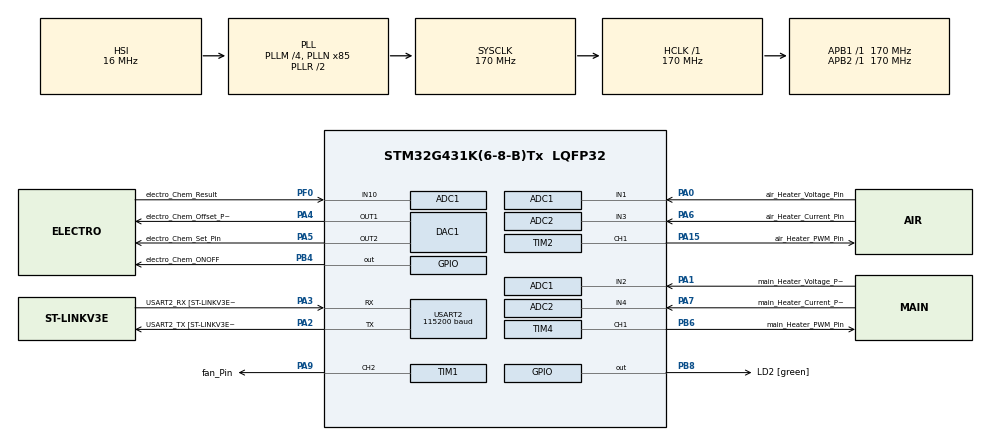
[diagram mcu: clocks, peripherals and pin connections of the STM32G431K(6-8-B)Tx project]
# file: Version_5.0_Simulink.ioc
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ADC1.Channel-10\#ChannelRegularConversion=ADC_CHANNEL_VREFINT
ADC1.Channel-6\#ChannelRegularConversion=ADC_CHANNEL_1
ADC1.Channel-7\#ChannelRegularConversion=ADC_CHANNEL_2
ADC1.Channel-8\#ChannelRegularConversion=ADC_CHANNEL_10
ADC1.Channel-9\#ChannelRegularConversion=ADC_CHANNEL_TEMPSENSOR_ADC1
ADC1.ClockPrescaler=ADC_CLOCK_ASYNC_DIV4
ADC1.ContinuousConvMode=ENABLE
ADC1.DMAContinuousRequests=ENABLE
ADC1.NbrOfConversion=5
ADC1.NbrOfConversionFlag=1
ADC1.OffsetNumber-10\#ChannelRegularConversion=ADC_OFFSET_NONE
ADC1.OffsetNumber-6\#ChannelRegularConversion=ADC_OFFSET_NONE
ADC1.OffsetNumber-7\#ChannelRegularConversion=ADC_OFFSET_NONE
ADC1.OffsetNumber-8\#ChannelRegularConversion=ADC_OFFSET_NONE
ADC1.OffsetNumber-9\#ChannelRegularConversion=ADC_OFFSET_NONE
ADC1.Rank-10\#ChannelRegularConversion=5
ADC1.Rank-6\#ChannelRegularConversion=1
ADC1.Rank-7\#ChannelRegularConversion=2
ADC1.Rank-8\#ChannelRegularConversion=3
ADC1.Rank-9\#ChannelRegularConversion=4
ADC1.SamplingTime-10\#ChannelRegularConversion=ADC_SAMPLETIME_47CYCLES_5
ADC1.SamplingTime-6\#ChannelRegularConversion=ADC_SAMPLETIME_47CYCLES_5
ADC1.SamplingTime-7\#ChannelRegularConversion=ADC_SAMPLETIME_47CYCLES_5
ADC1.SamplingTime-8\#ChannelRegularConversion=ADC_SAMPLETIME_47CYCLES_5
ADC1.SamplingTime-9\#ChannelRegularConversion=ADC_SAMPLETIME_47CYCLES_5
ADC1.master=1
ADC2.Channel-1\#ChannelRegularConversion=ADC_CHANNEL_3
ADC2.Channel-2\#ChannelRegularConversion=ADC_CHANNEL_4
ADC2.ClockPrescaler=ADC_CLOCK_ASYNC_DIV4
ADC2.ContinuousConvMode=ENABLE
ADC2.DMAContinuousRequests=ENABLE
ADC2.NbrOfConversion=2
ADC2.NbrOfConversionFlag=1
ADC2.OffsetNumber-1\#ChannelRegularConversion=ADC_OFFSET_NONE
ADC2.OffsetNumber-2\#ChannelRegularConversion=ADC_OFFSET_NONE
ADC2.Rank-1\#ChannelRegularConversion=1
ADC2.Rank-2\#ChannelRegularConversion=2
ADC2.SamplingTime-1\#ChannelRegularConversion=ADC_SAMPLETIME_247CYCLES_5
ADC2.SamplingTime-2\#ChannelRegularConversion=ADC_SAMPLETIME_247CYCLES_5
DAC1.DAC_Channel-DAC_OUT2=DAC_CHANNEL_2
Dma.ADC1.1.Direction=DMA_PERIPH_TO_MEMORY
Dma.ADC1.1.EventEnable=DISABLE
Dma.ADC1.1.Instance=DMA1_Channel1
Dma.ADC1.1.MemDataAlignment=DMA_MDATAALIGN_HALFWORD
Dma.ADC1.1.MemInc=DMA_MINC_ENABLE
Dma.ADC1.1.Mode=DMA_CIRCULAR
Dma.ADC1.1.PeriphDataAlignment=DMA_PDATAALIGN_HALFWORD
Dma.ADC1.1.PeriphInc=DMA_PINC_DISABLE
Dma.ADC1.1.Polarity=HAL_DMAMUX_REQ_GEN_RISING
Dma.ADC1.1.Priority=DMA_PRIORITY_LOW
Dma.ADC1.1.RequestNumber=1
Dma.ADC1.1.SignalID=NONE
Dma.ADC1.1.SyncEnable=DISABLE
Dma.ADC1.1.SyncPolarity=HAL_DMAMUX_SYNC_NO_EVENT
Dma.ADC1.1.SyncRequestNumber=1
Dma.ADC1.1.SyncSignalID=NONE
Dma.ADC2.0.Direction=DMA_PERIPH_TO_MEMORY
Dma.ADC2.0.EventEnable=DISABLE
Dma.ADC2.0.Instance=DMA1_Channel2
Dma.ADC2.0.MemDataAlignment=DMA_MDATAALIGN_HALFWORD
Dma.ADC2.0.MemInc=DMA_MINC_ENABLE
Dma.ADC2.0.Mode=DMA_CIRCULAR
Dma.ADC2.0.PeriphDataAlignment=DMA_PDATAALIGN_HALFWORD
Dma.ADC2.0.PeriphInc=DMA_PINC_DISABLE
Dma.ADC2.0.Polarity=HAL_DMAMUX_REQ_GEN_RISING
Dma.ADC2.0.Priority=DMA_PRIORITY_LOW
Dma.ADC2.0.RequestNumber=1
Dma.ADC2.0.SignalID=NONE
Dma.ADC2.0.SyncEnable=DISABLE
Dma.ADC2.0.SyncPolarity=HAL_DMAMUX_SYNC_NO_EVENT
Dma.ADC2.0.SyncRequestNumber=1
Dma.ADC2.0.SyncSignalID=NONE
Dma.Request0=ADC2
Dma.Request1=ADC1
Mcu.Family=STM32G4
Mcu.Name=STM32G431K(6-8-B)Tx
Mcu.Package=LQFP32
NVIC.DMA1_Channel1_IRQn=true\:3\:0\:true\:false\:true\:false\:true\:true
NVIC.DMA1_Channel2_IRQn=true\:3\:0\:true\:false\:true\:false\:true\:true
NVIC.PriorityGroup=NVIC_PRIORITYGROUP_4
NVIC.TIM6_DAC_IRQn=true\:1\:0\:true\:false\:true\:true\:true\:true
NVIC.TIM7_IRQn=true\:1\:0\:true\:false\:true\:true\:true\:true
NVIC.USART2_IRQn=true\:2\:0\:true\:false\:true\:true\:true\:true
PA0.GPIO_Label=air_Heater_Voltage_Pin
PA0.Mode=IN1-Single-Ended
PA0.Signal=ADC1_IN1
PA1.GPIO_Label=main_Heater_Voltage_Pin
PA1.Mode=IN2-Single-Ended
PA1.Signal=ADC1_IN2
PA13.GPIO_Label=T_SWDIO
PA13.Mode=Serial_Wire
PA13.Signal=SYS_JTMS-SWDIO
PA14.GPIO_Label=T_SWCLK
PA14.Mode=Serial_Wire
PA14.Signal=SYS_JTCK-SWCLK
PA15.GPIO_Label=air_Heater_PWM_Pin
PA15.Signal=S_TIM2_CH1
PA2.GPIO_Label=USART2_TX [ST-LINKV3E_VCP_RX]
PA2.Mode=Asynchronous
PA2.Signal=USART2_TX
PA3.GPIO_Label=USART2_RX [ST-LINKV3E_VCP_TX]
PA3.Mode=Asynchronous
PA3.Signal=USART2_RX
PA4.GPIO_Label=electro_Chem_Offset_Pin
PA4.Signal=COMP_DAC11_group
PA5.GPIO_Label=electro_Chem_Set_Pin
PA5.Signal=COMP_DAC12_group
PA6.GPIO_Label=air_Heater_Current_Pin
PA6.Mode=IN3-Single-Ended
PA6.Signal=ADC2_IN3
PA7.GPIO_Label=main_Heater_Current_Pin
PA7.Mode=IN4-Single-Ended
PA7.Signal=ADC2_IN4
PA9.GPIO_Label=fan_Pin
PA9.Signal=S_TIM1_CH2
PB4.GPIO_Label=electro_Chem_ONOFF
PB4.Signal=GPIO_Output
PB6.GPIO_Label=main_Heater_PWM_Pin
PB6.Signal=S_TIM4_CH1
PB8-BOOT0.GPIO_Label=LD2 [green]
PB8-BOOT0.Signal=GPIO_Output
PF0-OSC_IN.GPIO_Label=electro_Chem_Result
PF0-OSC_IN.Mode=IN10-Single-Ended
PF0-OSC_IN.Signal=ADC1_IN10
ProjectManager.HeapSize=0x200
ProjectManager.StackSize=0x400
ProjectManager.TargetToolchain=STM32CubeIDE
RCC.ADC12Freq_Value=170000000
RCC.AHBFreq_Value=170000000
RCC.APB1Freq_Value=170000000
RCC.APB1TimFreq_Value=170000000
RCC.APB2Freq_Value=170000000
RCC.APB2TimFreq_Value=170000000
RCC.CortexFreq_Value=170000000
RCC.EXTERNAL_CLOCK_VALUE=12288000
RCC.HCLKFreq_Value=170000000
RCC.HSE_VALUE=8000000
RCC.HSI48_VALUE=48000000
RCC.HSI_VALUE=16000000
RCC.LSE_VALUE=32768
RCC.PLLM=RCC_PLLM_DIV4
RCC.PLLN=85
RCC.SYSCLKFreq_VALUE=170000000
RCC.SYSCLKSource=RCC_SYSCLKSOURCE_PLLCLK
RCC.USBFreq_Value=170000000
RCC.VCOOutputFreq_Value=340000000
SH.COMP_DAC11_group.0=DAC1_OUT1,DAC_OUT1
SH.COMP_DAC12_group.0=DAC1_OUT2,DAC_OUT2
SH.S_TIM1_CH2.0=TIM1_CH2,PWM Generation2 CH2
SH.S_TIM2_CH1.0=TIM2_CH1,PWM Generation1 CH1
SH.S_TIM4_CH1.0=TIM4_CH1,PWM Generation1 CH1
TIM1.Channel-PWM\ Generation2\ CH2=TIM_CHANNEL_2
TIM2.Channel-PWM\ Generation1\ CH1=TIM_CHANNEL_1
TIM2.PeriodNoDither=65535
TIM2.Prescaler=0
TIM4.Channel-PWM\ Generation1\ CH1=TIM_CHANNEL_1
USART2.BaudRate=115200
USART2.VirtualMode-Asynchronous=VM_ASYNC
USART2.WordLength=WORDLENGTH_8B
VP_ADC1_TempSens_Input.Mode=IN-TempSens
VP_ADC1_Vref_Input.Mode=IN-Vrefint
VP_SYS_VS_DBSignals.Mode=DisableDeadBatterySignals
VP_TIM6_VS_ClockSourceINT.Mode=Enable_Timer
VP_TIM7_VS_ClockSourceINT.Mode=Enable_Timer
board=NUCLEO-G431KB

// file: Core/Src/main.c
/* USER CODE BEGIN Header */
/**
  ******************************************************************************
  * @file           : main.c
  * @brief          : Main program body
  ******************************************************************************
  * @attention
  *
  * Copyright (c) 2024 STMicroelectronics.
  * All rights reserved.
  *
  * This software is licensed under terms that can be found in the LICENSE file
  * in the root directory of this software component.
  * If no LICENSE file comes with this software, it is provided AS-IS.
  *
  ******************************************************************************
  */
/* USER CODE END Header */
#include "main.h"

/* USER CODE BEGIN Includes */

#include <stdio.h>
#include <string.h>

#include "pwm.h"
#include "filter.h"
#include "analog_in.h"
#include "processes.h"
#include "controller.h"
#include "analog_out.h"
#include "moving_average.h"
#include "timer_interrupt.h"
#include "global_variables.h"

/* USER CODE END Includes */

ADC_HandleTypeDef hadc1;
ADC_HandleTypeDef hadc2;
DMA_HandleTypeDef hdma_adc1;
DMA_HandleTypeDef hdma_adc2;

DAC_HandleTypeDef hdac1;

TIM_HandleTypeDef htim1;
TIM_HandleTypeDef htim2;
TIM_HandleTypeDef htim4;
TIM_HandleTypeDef htim6;
TIM_HandleTypeDef htim7;

UART_HandleTypeDef huart2;

void SystemClock_Config(void);
static void MX_GPIO_Init(void);
static void MX_DMA_Init(void);
static void MX_USART2_UART_Init(void);
static void MX_ADC1_Init(void);
static void MX_ADC2_Init(void);
static void MX_DAC1_Init(void);
static void MX_TIM1_Init(void);
static void MX_TIM2_Init(void);
static void MX_TIM4_Init(void);
static void MX_TIM6_Init(void);
static void MX_TIM7_Init(void);

/* USER CODE BEGIN 0 */

uint8_t receiveData[26];			//Includes Simulink headers
uint8_t filteredData[sizeof(receiveData)];

typedef union data{
    float var;
    char data[4];
} data;

uint8_t UART2_txBuffer[28] = {0};

uint8_t UART2_rxBuffer[32] = {0};

float a1, a2 = 0;
float b1, b2 = 0;

float a, b, c, d, e, f, g = 0;

/* USER CODE END 0 */

int main(void)
{

  /* MCU Configuration--------------------------------------------------------*/

  /* Reset of all peripherals, Initializes the Flash interface and the Systick. */
  HAL_Init();

  /* Configure the system clock */
  SystemClock_Config();

  /* Initialize all configured peripherals */
  MX_GPIO_Init();
  MX_DMA_Init();
  MX_USART2_UART_Init();
  MX_ADC1_Init();
  MX_ADC2_Init();
  MX_DAC1_Init();
  MX_TIM1_Init();
  MX_TIM2_Init();
  MX_TIM4_Init();
  MX_TIM6_Init();
  MX_TIM7_Init();
  /* USER CODE BEGIN 2 */

    ADC_Create_Start (&hadc1, 1, 5);
    ADC_Create_Start (&hadc2, 2, 2);

    ADC_Channel_Init (&Air_Heater_Voltage,	1, 1);
    ADC_Channel_Init (&Main_Heater_Voltage,	1, 2);

    ADC_Channel_Init (&Electro_Chem_Result, 	1, 3);

    ADC_Channel_Init (&Internal_Temp, 		1, 4);
    ADC_Channel_Init (&Internal_Ref_Voltage, 	1, 5);

    ADC_Channel_Init (&Air_Heater_Current,	2, 1);
    ADC_Channel_Init (&Main_Heater_Current,	2, 2);

    ADC_Calibrate (1);
    ADC_Calibrate (2);

    DAC_Channel_Init(&ElectroChem_Set, &hdac1, 1);
    DAC_Channel_Init(&ElectroChem_Offset, &hdac1, 2);

    PWMInit(&airheater, TIM2, &htim2, 1, HAL_RCC_GetPCLK1Freq(), 100000);
    PWMInit(&mainheater, TIM4, &htim4, 1, HAL_RCC_GetPCLK1Freq(), 60000);		// Change to 50kHz or higher, check if possible
    PWMInit(&fan, TIM1, &htim1, 2, HAL_RCC_GetPCLK1Freq(), 5000);

    setLPF_1Parameters (&Main_Heater_Current_Filter,  	0.05, 0.001);
    setLPF_1Parameters (&Main_Heater_Voltage_Filter, 		0.05, 0.001);
    setLPF_1Parameters (&Main_Heater_Resistance_Filter, 	80, 0.001);

    setControllerParameters(&main_Heater_Controller, 30.0, 1.0, 0, 200, 100, 2.0, 2.0);

    HAL_Delay(2000);

    TimerInterruptInit (&Task1, TIM6, &htim6, HAL_RCC_GetPCLK1Freq(), 10000000);
    TimerInterruptInit (&Task2, TIM7, &htim7, HAL_RCC_GetPCLK1Freq(), 100);

    DAC_Set_Value(&ElectroChem_Set, 2000);
    DAC_Set_Value(&ElectroChem_Offset, 3000);

//    HAL_UART_Receive_IT(&huart2, UART2_rxBuffer, sizeof(UART2_rxBuffer));

    SetPWMDuty(&mainheater, 2.0);
    StartPWM(&mainheater);

    StartPWM(&fan);

    main_Heater_Controller.onoff = 0;

    main_Heater_Reference = 35;

    linear_term = 1.4;
    offset_term = 28.45;

    start_flag = 0;

    initializeMovingAverage(&Main_Heater_Voltage_MV);
    initializeMovingAverage(&Main_Heater_Current_MV);

    StartInterrupt (&Task1);
    StartInterrupt (&Task2);

  /* USER CODE END 2 */

  /* Infinite loop */
  while (1)
  {

    /* USER CODE BEGIN 3 */

	  HAL_UART_Receive(&huart2, UART2_rxBuffer, 32, HAL_MAX_DELAY);

	  if((UART2_rxBuffer[0] == 65) && (UART2_rxBuffer[1] == 66) && (UART2_rxBuffer[2] == 67) && (UART2_rxBuffer[3] == 68) &&
			  (UART2_rxBuffer[28] == 97) && (UART2_rxBuffer[29] == 98) && (UART2_rxBuffer[30] == 99) && (UART2_rxBuffer[31] == 100))
	  {
		  start_flag = 1;

		  memcpy(&a, &UART2_rxBuffer[4], 4);
		  SetPWMDuty(&mainheater, a);

		  memcpy(&b, &UART2_rxBuffer[8], 4);
//		  SetPWMDuty(&airheater, b);

		  memcpy(&c, &UART2_rxBuffer[12], 4);
		  SetPWMDuty(&fan, c);

		  memcpy(&d, &UART2_rxBuffer[16], 4);
		  DAC_Set_Value(&ElectroChem_Set, d);

		  memcpy(&e, &UART2_rxBuffer[20], 4);
		  DAC_Set_Value(&ElectroChem_Offset, e);

		  memcpy(&f, &UART2_rxBuffer[24], 4);
		  if(f == 1)
			  HAL_GPIO_WritePin(GPIOB, GPIO_PIN_4, 1);
		  else
			  HAL_GPIO_WritePin(GPIOB, GPIO_PIN_4, 0);

		  memset(UART2_rxBuffer, 0, 32);

		  float transmit_header = 1234;
		  float transmit_terminator = 9876;
		  memcpy(&UART2_txBuffer[0], &transmit_header, 4);
		  memcpy(&UART2_txBuffer[4], &main_Heater_Voltage, 4);
		  memcpy(&UART2_txBuffer[8], &main_Heater_Current, 4);
		  memcpy(&UART2_txBuffer[12], &air_Heater_Voltage, 4);
		  memcpy(&UART2_txBuffer[16], &air_Heater_Current, 4);
		  memcpy(&UART2_txBuffer[20], &electro_Chem_Result, 4);
		  memcpy(&UART2_txBuffer[24], &transmit_terminator, 4);

		  HAL_UART_Transmit(&huart2, UART2_txBuffer, 28, HAL_MAX_DELAY);
	  }
  }
  /* USER CODE END 3 */
}

void SystemClock_Config(void)
{
  RCC_OscInitTypeDef RCC_OscInitStruct = {0};
  RCC_ClkInitTypeDef RCC_ClkInitStruct = {0};

  /** Configure the main internal regulator output voltage
  */
  HAL_PWREx_ControlVoltageScaling(PWR_REGULATOR_VOLTAGE_SCALE1_BOOST);

  /** Initializes the RCC Oscillators according to the specified parameters
  * in the RCC_OscInitTypeDef structure.
  */
  RCC_OscInitStruct.OscillatorType = RCC_OSCILLATORTYPE_HSI;
  RCC_OscInitStruct.HSIState = RCC_HSI_ON;
  RCC_OscInitStruct.HSICalibrationValue = RCC_HSICALIBRATION_DEFAULT;
  RCC_OscInitStruct.PLL.PLLState = RCC_PLL_ON;
  RCC_OscInitStruct.PLL.PLLSource = RCC_PLLSOURCE_HSI;
  RCC_OscInitStruct.PLL.PLLM = RCC_PLLM_DIV4;
  RCC_OscInitStruct.PLL.PLLN = 85;
  RCC_OscInitStruct.PLL.PLLP = RCC_PLLP_DIV2;
  RCC_OscInitStruct.PLL.PLLQ = RCC_PLLQ_DIV2;
  RCC_OscInitStruct.PLL.PLLR = RCC_PLLR_DIV2;
  if (HAL_RCC_OscConfig(&RCC_OscInitStruct) != HAL_OK)
  {
    Error_Handler();
  }

  /** Initializes the CPU, AHB and APB buses clocks
  */
  RCC_ClkInitStruct.ClockType = RCC_CLOCKTYPE_HCLK|RCC_CLOCKTYPE_SYSCLK
                              |RCC_CLOCKTYPE_PCLK1|RCC_CLOCKTYPE_PCLK2;
  RCC_ClkInitStruct.SYSCLKSource = RCC_SYSCLKSOURCE_PLLCLK;
  RCC_ClkInitStruct.AHBCLKDivider = RCC_SYSCLK_DIV1;
  RCC_ClkInitStruct.APB1CLKDivider = RCC_HCLK_DIV1;
  RCC_ClkInitStruct.APB2CLKDivider = RCC_HCLK_DIV1;

  if (HAL_RCC_ClockConfig(&RCC_ClkInitStruct, FLASH_LATENCY_4) != HAL_OK)
  {
    Error_Handler();
  }
}

static void MX_ADC1_Init(void)
{

  ADC_MultiModeTypeDef multimode = {0};
  ADC_ChannelConfTypeDef sConfig = {0};

  /** Common config
  */
  hadc1.Instance = ADC1;
  hadc1.Init.ClockPrescaler = ADC_CLOCK_ASYNC_DIV4;
  hadc1.Init.Resolution = ADC_RESOLUTION_12B;
  hadc1.Init.DataAlign = ADC_DATAALIGN_RIGHT;
  hadc1.Init.GainCompensation = 0;
  hadc1.Init.ScanConvMode = ADC_SCAN_ENABLE;
  hadc1.Init.EOCSelection = ADC_EOC_SINGLE_CONV;
  hadc1.Init.LowPowerAutoWait = DISABLE;
  hadc1.Init.ContinuousConvMode = ENABLE;
  hadc1.Init.NbrOfConversion = 5;
  hadc1.Init.DiscontinuousConvMode = DISABLE;
  hadc1.Init.ExternalTrigConv = ADC_SOFTWARE_START;
  hadc1.Init.ExternalTrigConvEdge = ADC_EXTERNALTRIGCONVEDGE_NONE;
  hadc1.Init.DMAContinuousRequests = ENABLE;
  hadc1.Init.Overrun = ADC_OVR_DATA_PRESERVED;
  hadc1.Init.OversamplingMode = DISABLE;
  if (HAL_ADC_Init(&hadc1) != HAL_OK)
  {
    Error_Handler();
  }

  /** Configure the ADC multi-mode
  */
  multimode.Mode = ADC_MODE_INDEPENDENT;
  if (HAL_ADCEx_MultiModeConfigChannel(&hadc1, &multimode) != HAL_OK)
  {
    Error_Handler();
  }

  /** Configure Regular Channel
  */
  sConfig.Channel = ADC_CHANNEL_1;
  sConfig.Rank = ADC_REGULAR_RANK_1;
  sConfig.SamplingTime = ADC_SAMPLETIME_47CYCLES_5;
  sConfig.SingleDiff = ADC_SINGLE_ENDED;
  sConfig.OffsetNumber = ADC_OFFSET_NONE;
  sConfig.Offset = 0;
  if (HAL_ADC_ConfigChannel(&hadc1, &sConfig) != HAL_OK)
  {
    Error_Handler();
  }

  /** Configure Regular Channel
  */
  sConfig.Channel = ADC_CHANNEL_2;
  sConfig.Rank = ADC_REGULAR_RANK_2;
  if (HAL_ADC_ConfigChannel(&hadc1, &sConfig) != HAL_OK)
  {
    Error_Handler();
  }

  /** Configure Regular Channel
  */
  sConfig.Channel = ADC_CHANNEL_10;
  sConfig.Rank = ADC_REGULAR_RANK_3;
  if (HAL_ADC_ConfigChannel(&hadc1, &sConfig) != HAL_OK)
  {
    Error_Handler();
  }

  /** Configure Regular Channel
  */
  sConfig.Channel = ADC_CHANNEL_TEMPSENSOR_ADC1;
  sConfig.Rank = ADC_REGULAR_RANK_4;
  if (HAL_ADC_ConfigChannel(&hadc1, &sConfig) != HAL_OK)
  {
    Error_Handler();
  }

  /** Configure Regular Channel
  */
  sConfig.Channel = ADC_CHANNEL_VREFINT;
  sConfig.Rank = ADC_REGULAR_RANK_5;
  if (HAL_ADC_ConfigChannel(&hadc1, &sConfig) != HAL_OK)
  {
    Error_Handler();
  }

}

static void MX_ADC2_Init(void)
{

  ADC_ChannelConfTypeDef sConfig = {0};

  /** Common config
  */
  hadc2.Instance = ADC2;
  hadc2.Init.ClockPrescaler = ADC_CLOCK_ASYNC_DIV4;
  hadc2.Init.Resolution = ADC_RESOLUTION_12B;
  hadc2.Init.DataAlign = ADC_DATAALIGN_RIGHT;
  hadc2.Init.GainCompensation = 0;
  hadc2.Init.ScanConvMode = ADC_SCAN_ENABLE;
  hadc2.Init.EOCSelection = ADC_EOC_SINGLE_CONV;
  hadc2.Init.LowPowerAutoWait = DISABLE;
  hadc2.Init.ContinuousConvMode = ENABLE;
  hadc2.Init.NbrOfConversion = 2;
  hadc2.Init.DiscontinuousConvMode = DISABLE;
  hadc2.Init.ExternalTrigConv = ADC_SOFTWARE_START;
  hadc2.Init.ExternalTrigConvEdge = ADC_EXTERNALTRIGCONVEDGE_NONE;
  hadc2.Init.DMAContinuousRequests = ENABLE;
  hadc2.Init.Overrun = ADC_OVR_DATA_PRESERVED;
  hadc2.Init.OversamplingMode = DISABLE;
  if (HAL_ADC_Init(&hadc2) != HAL_OK)
  {
    Error_Handler();
  }

  /** Configure Regular Channel
  */
  sConfig.Channel = ADC_CHANNEL_3;
  sConfig.Rank = ADC_REGULAR_RANK_1;
  sConfig.SamplingTime = ADC_SAMPLETIME_247CYCLES_5;
  sConfig.SingleDiff = ADC_SINGLE_ENDED;
  sConfig.OffsetNumber = ADC_OFFSET_NONE;
  sConfig.Offset = 0;
  if (HAL_ADC_ConfigChannel(&hadc2, &sConfig) != HAL_OK)
  {
    Error_Handler();
  }

  /** Configure Regular Channel
  */
  sConfig.Channel = ADC_CHANNEL_4;
  sConfig.Rank = ADC_REGULAR_RANK_2;
  if (HAL_ADC_ConfigChannel(&hadc2, &sConfig) != HAL_OK)
  {
    Error_Handler();
  }

}

static void MX_DAC1_Init(void)
{

  DAC_ChannelConfTypeDef sConfig = {0};

  /** DAC Initialization
  */
  hdac1.Instance = DAC1;
  if (HAL_DAC_Init(&hdac1) != HAL_OK)
  {
    Error_Handler();
  }

  /** DAC channel OUT1 config
  */
  sConfig.DAC_HighFrequency = DAC_HIGH_FREQUENCY_INTERFACE_MODE_AUTOMATIC;
  sConfig.DAC_DMADoubleDataMode = DISABLE;
  sConfig.DAC_SignedFormat = DISABLE;
  sConfig.DAC_SampleAndHold = DAC_SAMPLEANDHOLD_DISABLE;
  sConfig.DAC_Trigger = DAC_TRIGGER_NONE;
  sConfig.DAC_Trigger2 = DAC_TRIGGER_NONE;
  sConfig.DAC_OutputBuffer = DAC_OUTPUTBUFFER_ENABLE;
  sConfig.DAC_ConnectOnChipPeripheral = DAC_CHIPCONNECT_EXTERNAL;
  sConfig.DAC_UserTrimming = DAC_TRIMMING_FACTORY;
  if (HAL_DAC_ConfigChannel(&hdac1, &sConfig, DAC_CHANNEL_1) != HAL_OK)
  {
    Error_Handler();
  }

  /** DAC channel OUT2 config
  */
  if (HAL_DAC_ConfigChannel(&hdac1, &sConfig, DAC_CHANNEL_2) != HAL_OK)
  {
    Error_Handler();
  }

}

static void MX_TIM1_Init(void)
{

  TIM_MasterConfigTypeDef sMasterConfig = {0};
  TIM_OC_InitTypeDef sConfigOC = {0};
  TIM_BreakDeadTimeConfigTypeDef sBreakDeadTimeConfig = {0};

  htim1.Instance = TIM1;
  htim1.Init.Prescaler = 0;
  htim1.Init.CounterMode = TIM_COUNTERMODE_UP;
  htim1.Init.Period = 65535;
  htim1.Init.ClockDivision = TIM_CLOCKDIVISION_DIV1;
  htim1.Init.RepetitionCounter = 0;
  htim1.Init.AutoReloadPreload = TIM_AUTORELOAD_PRELOAD_DISABLE;
  if (HAL_TIM_PWM_Init(&htim1) != HAL_OK)
  {
    Error_Handler();
  }
  sMasterConfig.MasterOutputTrigger = TIM_TRGO_RESET;
  sMasterConfig.MasterOutputTrigger2 = TIM_TRGO2_RESET;
  sMasterConfig.MasterSlaveMode = TIM_MASTERSLAVEMODE_DISABLE;
  if (HAL_TIMEx_MasterConfigSynchronization(&htim1, &sMasterConfig) != HAL_OK)
  {
    Error_Handler();
  }
  sConfigOC.OCMode = TIM_OCMODE_PWM1;
  sConfigOC.Pulse = 0;
  sConfigOC.OCPolarity = TIM_OCPOLARITY_HIGH;
  sConfigOC.OCNPolarity = TIM_OCNPOLARITY_HIGH;
  sConfigOC.OCFastMode = TIM_OCFAST_DISABLE;
  sConfigOC.OCIdleState = TIM_OCIDLESTATE_RESET;
  sConfigOC.OCNIdleState = TIM_OCNIDLESTATE_RESET;
  if (HAL_TIM_PWM_ConfigChannel(&htim1, &sConfigOC, TIM_CHANNEL_2) != HAL_OK)
  {
    Error_Handler();
  }
  sBreakDeadTimeConfig.OffStateRunMode = TIM_OSSR_DISABLE;
  sBreakDeadTimeConfig.OffStateIDLEMode = TIM_OSSI_DISABLE;
  sBreakDeadTimeConfig.LockLevel = TIM_LOCKLEVEL_OFF;
  sBreakDeadTimeConfig.DeadTime = 0;
  sBreakDeadTimeConfig.BreakState = TIM_BREAK_DISABLE;
  sBreakDeadTimeConfig.BreakPolarity = TIM_BREAKPOLARITY_HIGH;
  sBreakDeadTimeConfig.BreakFilter = 0;
  sBreakDeadTimeConfig.BreakAFMode = TIM_BREAK_AFMODE_INPUT;
  sBreakDeadTimeConfig.Break2State = TIM_BREAK2_DISABLE;
  sBreakDeadTimeConfig.Break2Polarity = TIM_BREAK2POLARITY_HIGH;
  sBreakDeadTimeConfig.Break2Filter = 0;
  sBreakDeadTimeConfig.Break2AFMode = TIM_BREAK_AFMODE_INPUT;
  sBreakDeadTimeConfig.AutomaticOutput = TIM_AUTOMATICOUTPUT_DISABLE;
  if (HAL_TIMEx_ConfigBreakDeadTime(&htim1, &sBreakDeadTimeConfig) != HAL_OK)
  {
    Error_Handler();
  }
  HAL_TIM_MspPostInit(&htim1);

}

static void MX_TIM2_Init(void)
{

  TIM_MasterConfigTypeDef sMasterConfig = {0};
  TIM_OC_InitTypeDef sConfigOC = {0};

  htim2.Instance = TIM2;
  htim2.Init.Prescaler = 0;
  htim2.Init.CounterMode = TIM_COUNTERMODE_UP;
  htim2.Init.Period = 65535;
  htim2.Init.ClockDivision = TIM_CLOCKDIVISION_DIV1;
  htim2.Init.AutoReloadPreload = TIM_AUTORELOAD_PRELOAD_DISABLE;
  if (HAL_TIM_PWM_Init(&htim2) != HAL_OK)
  {
    Error_Handler();
  }
  sMasterConfig.MasterOutputTrigger = TIM_TRGO_RESET;
  sMasterConfig.MasterSlaveMode = TIM_MASTERSLAVEMODE_DISABLE;
  if (HAL_TIMEx_MasterConfigSynchronization(&htim2, &sMasterConfig) != HAL_OK)
  {
    Error_Handler();
  }
  sConfigOC.OCMode = TIM_OCMODE_PWM1;
  sConfigOC.Pulse = 0;
  sConfigOC.OCPolarity = TIM_OCPOLARITY_HIGH;
  sConfigOC.OCFastMode = TIM_OCFAST_DISABLE;
  if (HAL_TIM_PWM_ConfigChannel(&htim2, &sConfigOC, TIM_CHANNEL_1) != HAL_OK)
  {
    Error_Handler();
  }
  HAL_TIM_MspPostInit(&htim2);

}

static void MX_TIM4_Init(void)
{

  TIM_MasterConfigTypeDef sMasterConfig = {0};
  TIM_OC_InitTypeDef sConfigOC = {0};

  htim4.Instance = TIM4;
  htim4.Init.Prescaler = 0;
  htim4.Init.CounterMode = TIM_COUNTERMODE_UP;
  htim4.Init.Period = 65535;
  htim4.Init.ClockDivision = TIM_CLOCKDIVISION_DIV1;
  htim4.Init.AutoReloadPreload = TIM_AUTORELOAD_PRELOAD_DISABLE;
  if (HAL_TIM_PWM_Init(&htim4) != HAL_OK)
  {
    Error_Handler();
  }
  sMasterConfig.MasterOutputTrigger = TIM_TRGO_RESET;
  sMasterConfig.MasterSlaveMode = TIM_MASTERSLAVEMODE_DISABLE;
  if (HAL_TIMEx_MasterConfigSynchronization(&htim4, &sMasterConfig) != HAL_OK)
  {
    Error_Handler();
  }
  sConfigOC.OCMode = TIM_OCMODE_PWM1;
  sConfigOC.Pulse = 0;
  sConfigOC.OCPolarity = TIM_OCPOLARITY_HIGH;
  sConfigOC.OCFastMode = TIM_OCFAST_DISABLE;
  if (HAL_TIM_PWM_ConfigChannel(&htim4, &sConfigOC, TIM_CHANNEL_1) != HAL_OK)
  {
    Error_Handler();
  }
  HAL_TIM_MspPostInit(&htim4);

}

static void MX_TIM6_Init(void)
{

  TIM_MasterConfigTypeDef sMasterConfig = {0};

  htim6.Instance = TIM6;
  htim6.Init.Prescaler = 0;
  htim6.Init.CounterMode = TIM_COUNTERMODE_UP;
  htim6.Init.Period = 65535;
  htim6.Init.AutoReloadPreload = TIM_AUTORELOAD_PRELOAD_DISABLE;
  if (HAL_TIM_Base_Init(&htim6) != HAL_OK)
  {
    Error_Handler();
  }
  sMasterConfig.MasterOutputTrigger = TIM_TRGO_RESET;
  sMasterConfig.MasterSlaveMode = TIM_MASTERSLAVEMODE_DISABLE;
  if (HAL_TIMEx_MasterConfigSynchronization(&htim6, &sMasterConfig) != HAL_OK)
  {
    Error_Handler();
  }

}

static void MX_TIM7_Init(void)
{

  TIM_MasterConfigTypeDef sMasterConfig = {0};

  htim7.Instance = TIM7;
  htim7.Init.Prescaler = 0;
  htim7.Init.CounterMode = TIM_COUNTERMODE_UP;
  htim7.Init.Period = 65535;
  htim7.Init.AutoReloadPreload = TIM_AUTORELOAD_PRELOAD_DISABLE;
  if (HAL_TIM_Base_Init(&htim7) != HAL_OK)
  {
    Error_Handler();
  }
  sMasterConfig.MasterOutputTrigger = TIM_TRGO_RESET;
  sMasterConfig.MasterSlaveMode = TIM_MASTERSLAVEMODE_DISABLE;
  if (HAL_TIMEx_MasterConfigSynchronization(&htim7, &sMasterConfig) != HAL_OK)
  {
    Error_Handler();
  }

}

static void MX_USART2_UART_Init(void)
{

  huart2.Instance = USART2;
  huart2.Init.BaudRate = 115200;
  huart2.Init.WordLength = UART_WORDLENGTH_8B;
  huart2.Init.StopBits = UART_STOPBITS_1;
  huart2.Init.Parity = UART_PARITY_NONE;
  huart2.Init.Mode = UART_MODE_TX_RX;
  huart2.Init.HwFlowCtl = UART_HWCONTROL_NONE;
  huart2.Init.OverSampling = UART_OVERSAMPLING_16;
  huart2.Init.OneBitSampling = UART_ONE_BIT_SAMPLE_DISABLE;
  huart2.Init.ClockPrescaler = UART_PRESCALER_DIV1;
  huart2.AdvancedInit.AdvFeatureInit = UART_ADVFEATURE_NO_INIT;
  if (HAL_UART_Init(&huart2) != HAL_OK)
  {
    Error_Handler();
  }
  if (HAL_UARTEx_SetTxFifoThreshold(&huart2, UART_TXFIFO_THRESHOLD_1_8) != HAL_OK)
  {
    Error_Handler();
  }
  if (HAL_UARTEx_SetRxFifoThreshold(&huart2, UART_RXFIFO_THRESHOLD_1_8) != HAL_OK)
  {
    Error_Handler();
  }
  if (HAL_UARTEx_DisableFifoMode(&huart2) != HAL_OK)
  {
    Error_Handler();
  }

}

static void MX_DMA_Init(void)
{

  /* DMA controller clock enable */
  __HAL_RCC_DMAMUX1_CLK_ENABLE();
  __HAL_RCC_DMA1_CLK_ENABLE();

  /* DMA interrupt init */
  /* DMA1_Channel1_IRQn interrupt configuration */
  HAL_NVIC_SetPriority(DMA1_Channel1_IRQn, 3, 0);
  HAL_NVIC_EnableIRQ(DMA1_Channel1_IRQn);
  /* DMA1_Channel2_IRQn interrupt configuration */
  HAL_NVIC_SetPriority(DMA1_Channel2_IRQn, 3, 0);
  HAL_NVIC_EnableIRQ(DMA1_Channel2_IRQn);

}

static void MX_GPIO_Init(void)
{
  GPIO_InitTypeDef GPIO_InitStruct = {0};

  /* GPIO Ports Clock Enable */
  __HAL_RCC_GPIOF_CLK_ENABLE();
  __HAL_RCC_GPIOA_CLK_ENABLE();
  __HAL_RCC_GPIOB_CLK_ENABLE();

  /*Configure GPIO pin Output Level */
  HAL_GPIO_WritePin(GPIOB, electro_Chem_ONOFF_Pin|LD2_Pin, GPIO_PIN_RESET);

  /*Configure GPIO pins : electro_Chem_ONOFF_Pin LD2_Pin */
  GPIO_InitStruct.Pin = electro_Chem_ONOFF_Pin|LD2_Pin;
  GPIO_InitStruct.Mode = GPIO_MODE_OUTPUT_PP;
  GPIO_InitStruct.Pull = GPIO_NOPULL;
  GPIO_InitStruct.Speed = GPIO_SPEED_FREQ_LOW;
  HAL_GPIO_Init(GPIOB, &GPIO_InitStruct);

}

/* USER CODE BEGIN 4 */

void HAL_TIM_PeriodElapsedCallback(TIM_HandleTypeDef* htim)
{
	if (htim == &htim6)
		Task1ISR();
	else if (htim == &htim7)
		Task2ISR();
}

int __io_putchar(int ch)
{
 uint8_t c[1];
 c[0] = ch & 0x00FF;
 HAL_UART_Transmit(&huart2, &*c, 1, 1);
 return ch;
}

int _write(int file,char *ptr, int len)
{
 int DataIdx;
 for(DataIdx= 0; DataIdx< len; DataIdx++)
 {
 __io_putchar(*ptr++);
 }
return len;
}

/* USER CODE END 4 */

void Error_Handler(void)
{
  __disable_irq();
  while (1)
  {
  }
}
